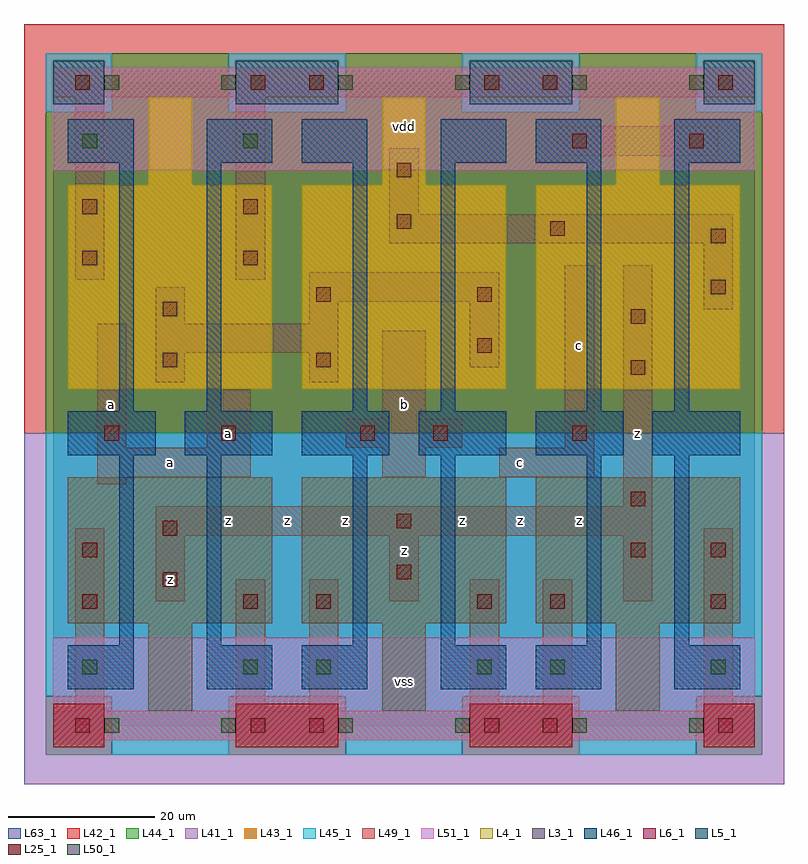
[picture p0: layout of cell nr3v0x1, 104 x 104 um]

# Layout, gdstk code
import gdstk
lib = gdstk.Library(unit=1e-6, precision=1e-09)
def R(c, l, rs):  # rectangles x0, y0, x1, y1
    for r in rs: c.add(gdstk.rectangle(r[:2], r[2:], *l))
def A(c, l, x, y, w, h, nx, ny, dx, dy):  # array of equal rectangles
    R(c, l, [(x+i*dx, y+j*dy, x+i*dx+w, y+j*dy+h) for i in range(nx) for j in range(ny)])
L3_1 = (3, 1)
L4_1 = (4, 1)
L5_1 = (5, 1)
L6_1 = (6, 1)
L25_1 = (25, 1)
L41_1 = (41, 1)
L42_1 = (42, 1)
L43_1 = (43, 1)
L44_1 = (44, 1)
L45_1 = (45, 1)
L46_1 = (46, 1)
L49_1 = (49, 1)
L50_1 = (50, 1)
L51_1 = (51, 1)
L63_1 = (63, 1)

nr3v0x1 = lib.new_cell('nr3v0x1')
A(nr3v0x1, L3_1, 13, 2, 6, 12, 3, 1, 32, 0)
A(nr3v0x1, L3_1, 2, 14, 28, 20, 3, 1, 32, 0)
A(nr3v0x1, L4_1, 2, 46, 28, 28, 3, 1, 32, 0)
A(nr3v0x1, L4_1, 13, 74, 6, 12, 3, 1, 32, 0)
R(nr3v0x1, L5_1, [(0,85,7,91), (25,85,39,91), (57,85,71,91), (89,85,96,91)])
R(nr3v0x1, L6_1, [(0,-3,7,3), (0,-3,7,3), (25,-3,39,3), (25,-3,39,3), (57,-3,71,3), (57,-3,71,3), (89,-3,96,3), (89,-3,96,3)])
R(nr3v0x1, L25_1, [(3,-1,5,1), (27,-1,29,1), (35,-1,37,1), (59,-1,61,1), (67,-1,69,1), (91,-1,93,1), (4,16,6,18), (26,16,28,18), (36,16,38,18), (58,16,60,18), (68,16,70,18), (90,16,92,18), (15,19,17,21), (47,20,49,22), (4,23,6,25), (79,23,81,25), (90,23,92,25), (15,26,17,28), (47,27,49,29), (79,30,81,32), (7,39,9,41), (23,39,25,41), (42,39,44,41), (52,39,54,41), (71,39,73,41), (79,48,81,50), (15,49,17,51), (36,49,38,51), (58,51,60,53), (79,55,81,57), (15,56,17,58), (36,58,38,60), (58,58,60,60), (90,59,92,61), (4,63,6,65), (26,63,28,65), (90,66,92,68), (68,67,70,69), (47,68,49,70), (4,70,6,72), (26,70,28,72), (47,75,49,77), (71,79,73,81), (87,79,89,81), (3,87,5,89), (27,87,29,89), (35,87,37,89), (59,87,61,89), (67,87,69,89), (91,87,93,89)])
R(nr3v0x1, L41_1, [(-4,-8,100,40)])
R(nr3v0x1, L42_1, [(-4,40,100,96)])
A(nr3v0x1, L43_1, 13, 2, 6, 12, 3, 2, 32, 72)
A(nr3v0x1, L43_1, 2, 14, 28, 20, 3, 1, 32, 0)
A(nr3v0x1, L43_1, 2, 46, 28, 28, 3, 1, 32, 0)
R(nr3v0x1, L43_1, [(0,-3,7,3), (25,-3,39,3), (57,-3,71,3), (89,-3,96,3), (0,85,7,91), (25,85,39,91), (57,85,71,91), (89,85,96,91)])
A(nr3v0x1, L44_1, 8, 84, 16, 8, 3, 1, 32, 0)
R(nr3v0x1, L44_1, [(-1,-4,8,4), (24,-4,40,4), (56,-4,72,4), (88,-4,97,4), (-1,40,97,84)])
A(nr3v0x1, L45_1, 8, -4, 16, 8, 3, 1, 32, 0)
R(nr3v0x1, L45_1, [(-1,4,97,40), (-1,84,8,92), (24,84,40,92), (56,84,72,92), (88,84,97,92)])
A(nr3v0x1, L46_1, 2, 37, 12, 6, 6, 1, 16, 0)
R(nr3v0x1, L46_1, [(2,5,11,11), (21,5,30,11), (34,5,43,11), (53,5,62,11), (66,5,75,11), (85,5,94,11), (9,11,11,37), (21,11,23,37), (41,11,43,37), (53,11,55,37), (73,11,75,37), (85,11,87,37), (9,43,11,77), (21,43,23,77), (41,43,43,77), (53,43,55,77), (73,43,75,77), (85,43,87,77), (2,77,11,83), (21,77,30,83), (34,77,43,83), (53,77,62,83), (66,77,75,83), (85,77,94,83)])
A(nr3v0x1, L49_1, 14, 17, 4, 9, 3, 1, 32, 0)
R(nr3v0x1, L49_1, [(0,-2,96,2), (3,2,7,27), (25,2,29,20), (35,2,39,20), (57,2,61,20), (67,2,71,20), (89,2,93,27), (14,26,82,30), (78,30,82,63), (6,33,10,34), (6,34,27,38), (45,34,51,38), (61,34,74,38), (6,38,10,55), (21,38,27,46), (40,38,56,42), (70,38,74,63), (45,42,51,54), (14,47,18,51), (35,47,39,51), (57,49,61,58), (14,51,39,55), (14,55,18,60), (35,55,39,58), (89,57,93,66), (35,58,61,62), (3,61,7,86), (25,61,29,86), (46,66,93,70), (46,70,50,79), (69,78,91,82), (0,86,96,90)])
A(nr3v0x1, L50_1, 7, -1, 2, 2, 6, 2, 16, 88)
R(nr3v0x1, L50_1, [(4,7,6,9), (26,7,28,9), (36,7,38,9), (58,7,60,9), (68,7,70,9), (90,7,92,9), (4,79,6,81), (26,79,28,81)])
R(nr3v0x1, L51_1, [(0,-2,96,12), (0,76,96,90)])
R(nr3v0x1, L63_1, [(0,0,96,88)])
nr3v0x1.add(gdstk.Label('a', (8,44), layer=49, texttype=1))
nr3v0x1.add(gdstk.Label('z', (16,20), layer=49, texttype=1))
nr3v0x1.add(gdstk.Label('z', (32,28), layer=49, texttype=1))
nr3v0x1.add(gdstk.Label('z', (24,28), layer=49, texttype=1))
nr3v0x1.add(gdstk.Label('a', (16,36), layer=49, texttype=1))
nr3v0x1.add(gdstk.Label('a', (24,40), layer=49, texttype=1))
nr3v0x1.add(gdstk.Label('z', (40,28), layer=49, texttype=1))
nr3v0x1.add(gdstk.Label('z', (56,28), layer=49, texttype=1))
nr3v0x1.add(gdstk.Label('z', (48,24), layer=49, texttype=1))
nr3v0x1.add(gdstk.Label('b', (48,44), layer=49, texttype=1))
nr3v0x1.add(gdstk.Label('z', (72,28), layer=49, texttype=1))
nr3v0x1.add(gdstk.Label('z', (64,28), layer=49, texttype=1))
nr3v0x1.add(gdstk.Label('c', (64,36), layer=49, texttype=1))
nr3v0x1.add(gdstk.Label('c', (72,52), layer=49, texttype=1))
nr3v0x1.add(gdstk.Label('z', (80,40), layer=49, texttype=1))
nr3v0x1.add(gdstk.Label('vss', (48,6), layer=51, texttype=1))
nr3v0x1.add(gdstk.Label('vdd', (48,82), layer=51, texttype=1))

lib.write_gds('nr3v0x1.gds')
